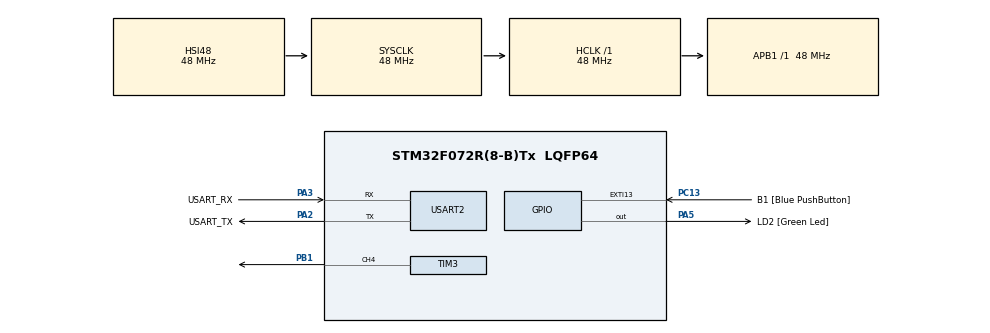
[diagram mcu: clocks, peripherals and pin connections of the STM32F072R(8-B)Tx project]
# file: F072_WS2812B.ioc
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Dma.Request0=TIM3_CH4/UP
Dma.TIM3_CH4/UP.0.Direction=DMA_MEMORY_TO_PERIPH
Dma.TIM3_CH4/UP.0.Instance=DMA1_Channel3
Dma.TIM3_CH4/UP.0.MemDataAlignment=DMA_MDATAALIGN_BYTE
Dma.TIM3_CH4/UP.0.MemInc=DMA_MINC_ENABLE
Dma.TIM3_CH4/UP.0.Mode=DMA_CIRCULAR
Dma.TIM3_CH4/UP.0.PeriphDataAlignment=DMA_PDATAALIGN_WORD
Dma.TIM3_CH4/UP.0.PeriphInc=DMA_PINC_DISABLE
Dma.TIM3_CH4/UP.0.Priority=DMA_PRIORITY_VERY_HIGH
Mcu.Family=STM32F0
Mcu.Name=STM32F072R(8-B)Tx
Mcu.Package=LQFP64
NVIC.DMA1_Channel2_3_IRQn=true\:0\:0\:false\:false\:true\:false\:true
PA13.GPIO_Label=TMS
PA13.Mode=Serial_Wire
PA13.Signal=SYS_SWDIO
PA14.GPIO_Label=TCK
PA14.Mode=Serial_Wire
PA14.Signal=SYS_SWCLK
PA2.GPIO_Label=USART_TX
PA2.GPIO_Mode=GPIO_MODE_AF_PP
PA2.GPIO_PuPd=GPIO_NOPULL
PA2.GPIO_Speed=GPIO_SPEED_FREQ_LOW
PA2.Mode=Asynchronous
PA2.Signal=USART2_TX
PA3.GPIO_Label=USART_RX
PA3.GPIO_Mode=GPIO_MODE_AF_PP
PA3.GPIO_PuPd=GPIO_NOPULL
PA3.GPIO_Speed=GPIO_SPEED_FREQ_LOW
PA3.Mode=Asynchronous
PA3.Signal=USART2_RX
PA5.GPIO_Label=LD2 [Green Led]
PA5.GPIO_Mode=GPIO_MODE_OUTPUT_PP
PA5.GPIO_PuPd=GPIO_NOPULL
PA5.GPIO_Speed=GPIO_SPEED_FREQ_LOW
PA5.Signal=GPIO_Output
PB1.GPIO_Speed=GPIO_SPEED_FREQ_HIGH
PB1.Signal=S_TIM3_CH4
PC13.GPIO_Label=B1 [Blue PushButton]
PC13.GPIO_ModeDefaultEXTI=GPIO_MODE_IT_FALLING
PC13.Signal=GPXTI13
PC14-OSC32_IN.Mode=LSE-External-Oscillator
PC14-OSC32_IN.Signal=RCC_OSC32_IN
PC15-OSC32_OUT.Mode=LSE-External-Oscillator
PC15-OSC32_OUT.Signal=RCC_OSC32_OUT
PF0-OSC_IN.Mode=HSE-External-Clock-Source
PF0-OSC_IN.Signal=RCC_OSC_IN
PF1-OSC_OUT.Signal=RCC_OSC_OUT
ProjectManager.HeapSize=0x200
ProjectManager.StackSize=0x400
ProjectManager.TargetToolchain=SW4STM32
RCC.AHBFreq_Value=48000000
RCC.APB1Freq_Value=48000000
RCC.APB1TimFreq_Value=48000000
RCC.FLatency-AdvancedSettings=FLASH_LATENCY_1
RCC.HCLKFreq_Value=48000000
RCC.PLLDivider=RCC_PREDIV_DIV2
RCC.PLLMUL=RCC_PLL_MUL12
RCC.PREFETCH_ENABLE-AdvancedSettings=1
RCC.SYSCLKFreq_VALUE=48000000
RCC.SYSCLKSource=RCC_SYSCLKSOURCE_HSI48
SH.S_TIM3_CH4.0=TIM3_CH4,PWM Generation4 CH4
TIM3.Channel-PWM\ Generation4\ CH4=TIM_CHANNEL_4
TIM3.Period=3
TIM3.Prescaler=14
USART2.VirtualMode=VM_ASYNC
USART2.VirtualMode-Asynchronous=VM_ASYNC
VP_TIM3_VS_ClockSourceINT.Mode=Internal
board=NUCLEO-F072RB

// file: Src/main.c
/* USER CODE BEGIN Header */
/**
 ******************************************************************************
 * @file           : main.c
 * @brief          : Main program body
 ******************************************************************************
 * @attention
 *
 * <h2><center>&copy; Copyright (c) 2020 STMicroelectronics.
 * All rights reserved.</center></h2>
 *
 * This software component is licensed by ST under BSD 3-Clause license,
 * the "License"; You may not use this file except in compliance with the
 * License. You may obtain a copy of the License at:
 *                        opensource.org/licenses/BSD-3-Clause
 *
 ******************************************************************************
 */
/* USER CODE END Header */

#include "main.h"

TIM_HandleTypeDef htim3;
DMA_HandleTypeDef hdma_tim3_ch4_up;

UART_HandleTypeDef huart2;

void SystemClock_Config(void);
static void MX_GPIO_Init(void);
static void MX_DMA_Init(void);
static void MX_TIM3_Init(void);
static void MX_USART2_UART_Init(void);

/* USER CODE BEGIN 0 */
void ws2812b_set_pixel(uint32_t pixel, uint8_t r, uint8_t g, uint8_t b,
		uint8_t *buff) {
	uint8_t i;
	uint8_t color;
	i = 0;
	color = g;
	while (i < 8) {
		if (color & 0b1000000) {
			buff[(24 * pixel) + i] = 3;
		} else {
			buff[(24 * pixel) + i] = 1;
		}
		color = color << 1;
		i++;
	}
	color = r;
	while (i < 16) {
		if (color & 0b1000000) {
			buff[(24 * pixel) + i] = 3;
		} else {
			buff[(24 * pixel) + i] = 1;
		}
		color = color << 1;
		i++;
	}
	color = b;
	while (i < 24) {
		if (color & 0b1000000) {
			buff[(24 * pixel) + i] = 3;
		} else {
			buff[(24 * pixel) + i] = 1;
		}
		color = color << 1;
		i++;
	}
}
/* USER CODE END 0 */

int main(void)
{
  /* USER CODE BEGIN 1 */
	uint8_t pwm_buff[256];
	uint16_t i;
  /* USER CODE END 1 */

  /* MCU Configuration--------------------------------------------------------*/

  /* Reset of all peripherals, Initializes the Flash interface and the Systick. */
  HAL_Init();

  /* Configure the system clock */
  SystemClock_Config();

  /* Initialize all configured peripherals */
  MX_GPIO_Init();
  MX_DMA_Init();
  MX_TIM3_Init();
  MX_USART2_UART_Init();
  /* USER CODE BEGIN 2 */

	i = 0;
	while (i < 256) {
		if (i < 192) {
			pwm_buff[i] = 1;
			pwm_buff[i + 1] = 1;
		} else {
			pwm_buff[i] = 0;
			pwm_buff[i + 1] = 0;
		}

		i += 2;
	}

	ws2812b_set_pixel(0, 10, 0, 0, pwm_buff);
	ws2812b_set_pixel(1, 0, 10, 0, pwm_buff);
	ws2812b_set_pixel(2, 0, 0, 10, pwm_buff);
	ws2812b_set_pixel(3, 0, 10, 10, pwm_buff);
	ws2812b_set_pixel(4, 10, 0, 10, pwm_buff);
	ws2812b_set_pixel(5, 10, 10, 0, pwm_buff);
	ws2812b_set_pixel(6, 10, 10, 10, pwm_buff);
	ws2812b_set_pixel(7, 5, 5, 5, pwm_buff);

	HAL_TIM_PWM_Start_DMA(&htim3, TIM_CHANNEL_4, pwm_buff, 256);
	HAL_Delay(100);

  /* USER CODE END 2 */

  /* Infinite loop */
  /* USER CODE BEGIN WHILE */
	while (1) {

		ws2812b_set_pixel((i + 0) % 8, 10, 0, 0, pwm_buff);
		ws2812b_set_pixel((i + 1) % 8, 0, 10, 0, pwm_buff);
		ws2812b_set_pixel((i + 2) % 8, 0, 0, 10, pwm_buff);
		ws2812b_set_pixel((i + 3) % 8, 0, 10, 10, pwm_buff);
		ws2812b_set_pixel((i + 4) % 8, 10, 0, 10, pwm_buff);
		ws2812b_set_pixel((i + 5) % 8, 10, 10, 0, pwm_buff);
		ws2812b_set_pixel((i + 6) % 8, 10, 10, 10, pwm_buff);
		ws2812b_set_pixel((i + 7) % 8, 0, 0, 0, pwm_buff);
		i++;
		HAL_Delay(60);

    /* USER CODE END WHILE */

	}
}

void SystemClock_Config(void)
{
  RCC_OscInitTypeDef RCC_OscInitStruct = {0};
  RCC_ClkInitTypeDef RCC_ClkInitStruct = {0};
  RCC_PeriphCLKInitTypeDef PeriphClkInit = {0};

  /** Initializes the CPU, AHB and APB busses clocks
  */
  RCC_OscInitStruct.OscillatorType = RCC_OSCILLATORTYPE_HSI48;
  RCC_OscInitStruct.HSI48State = RCC_HSI48_ON;
  RCC_OscInitStruct.PLL.PLLState = RCC_PLL_NONE;
  if (HAL_RCC_OscConfig(&RCC_OscInitStruct) != HAL_OK)
  {
    Error_Handler();
  }
  /** Initializes the CPU, AHB and APB busses clocks
  */
  RCC_ClkInitStruct.ClockType = RCC_CLOCKTYPE_HCLK|RCC_CLOCKTYPE_SYSCLK
                              |RCC_CLOCKTYPE_PCLK1;
  RCC_ClkInitStruct.SYSCLKSource = RCC_SYSCLKSOURCE_HSI48;
  RCC_ClkInitStruct.AHBCLKDivider = RCC_SYSCLK_DIV1;
  RCC_ClkInitStruct.APB1CLKDivider = RCC_HCLK_DIV1;

  if (HAL_RCC_ClockConfig(&RCC_ClkInitStruct, FLASH_LATENCY_1) != HAL_OK)
  {
    Error_Handler();
  }
  PeriphClkInit.PeriphClockSelection = RCC_PERIPHCLK_USART2;
  PeriphClkInit.Usart2ClockSelection = RCC_USART2CLKSOURCE_PCLK1;
  if (HAL_RCCEx_PeriphCLKConfig(&PeriphClkInit) != HAL_OK)
  {
    Error_Handler();
  }
}

static void MX_TIM3_Init(void)
{

  TIM_ClockConfigTypeDef sClockSourceConfig = {0};
  TIM_MasterConfigTypeDef sMasterConfig = {0};
  TIM_OC_InitTypeDef sConfigOC = {0};

  htim3.Instance = TIM3;
  htim3.Init.Prescaler = 14;
  htim3.Init.CounterMode = TIM_COUNTERMODE_UP;
  htim3.Init.Period = 3;
  htim3.Init.ClockDivision = TIM_CLOCKDIVISION_DIV1;
  htim3.Init.AutoReloadPreload = TIM_AUTORELOAD_PRELOAD_DISABLE;
  if (HAL_TIM_Base_Init(&htim3) != HAL_OK)
  {
    Error_Handler();
  }
  sClockSourceConfig.ClockSource = TIM_CLOCKSOURCE_INTERNAL;
  if (HAL_TIM_ConfigClockSource(&htim3, &sClockSourceConfig) != HAL_OK)
  {
    Error_Handler();
  }
  if (HAL_TIM_PWM_Init(&htim3) != HAL_OK)
  {
    Error_Handler();
  }
  sMasterConfig.MasterOutputTrigger = TIM_TRGO_RESET;
  sMasterConfig.MasterSlaveMode = TIM_MASTERSLAVEMODE_DISABLE;
  if (HAL_TIMEx_MasterConfigSynchronization(&htim3, &sMasterConfig) != HAL_OK)
  {
    Error_Handler();
  }
  sConfigOC.OCMode = TIM_OCMODE_PWM1;
  sConfigOC.Pulse = 0;
  sConfigOC.OCPolarity = TIM_OCPOLARITY_HIGH;
  sConfigOC.OCFastMode = TIM_OCFAST_DISABLE;
  if (HAL_TIM_PWM_ConfigChannel(&htim3, &sConfigOC, TIM_CHANNEL_4) != HAL_OK)
  {
    Error_Handler();
  }
  HAL_TIM_MspPostInit(&htim3);

}

static void MX_USART2_UART_Init(void)
{

  huart2.Instance = USART2;
  huart2.Init.BaudRate = 38400;
  huart2.Init.WordLength = UART_WORDLENGTH_8B;
  huart2.Init.StopBits = UART_STOPBITS_1;
  huart2.Init.Parity = UART_PARITY_NONE;
  huart2.Init.Mode = UART_MODE_TX_RX;
  huart2.Init.HwFlowCtl = UART_HWCONTROL_NONE;
  huart2.Init.OverSampling = UART_OVERSAMPLING_16;
  huart2.Init.OneBitSampling = UART_ONE_BIT_SAMPLE_DISABLE;
  huart2.AdvancedInit.AdvFeatureInit = UART_ADVFEATURE_NO_INIT;
  if (HAL_UART_Init(&huart2) != HAL_OK)
  {
    Error_Handler();
  }

}

static void MX_DMA_Init(void)
{

  /* DMA controller clock enable */
  __HAL_RCC_DMA1_CLK_ENABLE();

  /* DMA interrupt init */
  /* DMA1_Channel2_3_IRQn interrupt configuration */
  HAL_NVIC_SetPriority(DMA1_Channel2_3_IRQn, 0, 0);
  HAL_NVIC_EnableIRQ(DMA1_Channel2_3_IRQn);

}

static void MX_GPIO_Init(void)
{
  GPIO_InitTypeDef GPIO_InitStruct = {0};

  /* GPIO Ports Clock Enable */
  __HAL_RCC_GPIOC_CLK_ENABLE();
  __HAL_RCC_GPIOF_CLK_ENABLE();
  __HAL_RCC_GPIOA_CLK_ENABLE();
  __HAL_RCC_GPIOB_CLK_ENABLE();

  /*Configure GPIO pin Output Level */
  HAL_GPIO_WritePin(LD2_GPIO_Port, LD2_Pin, GPIO_PIN_RESET);

  /*Configure GPIO pin : B1_Pin */
  GPIO_InitStruct.Pin = B1_Pin;
  GPIO_InitStruct.Mode = GPIO_MODE_IT_FALLING;
  GPIO_InitStruct.Pull = GPIO_NOPULL;
  HAL_GPIO_Init(B1_GPIO_Port, &GPIO_InitStruct);

  /*Configure GPIO pin : LD2_Pin */
  GPIO_InitStruct.Pin = LD2_Pin;
  GPIO_InitStruct.Mode = GPIO_MODE_OUTPUT_PP;
  GPIO_InitStruct.Pull = GPIO_NOPULL;
  GPIO_InitStruct.Speed = GPIO_SPEED_FREQ_LOW;
  HAL_GPIO_Init(LD2_GPIO_Port, &GPIO_InitStruct);

}

void Error_Handler(void)
{
}

/************************ (C) COPYRIGHT STMicroelectronics *****END OF FILE****/
